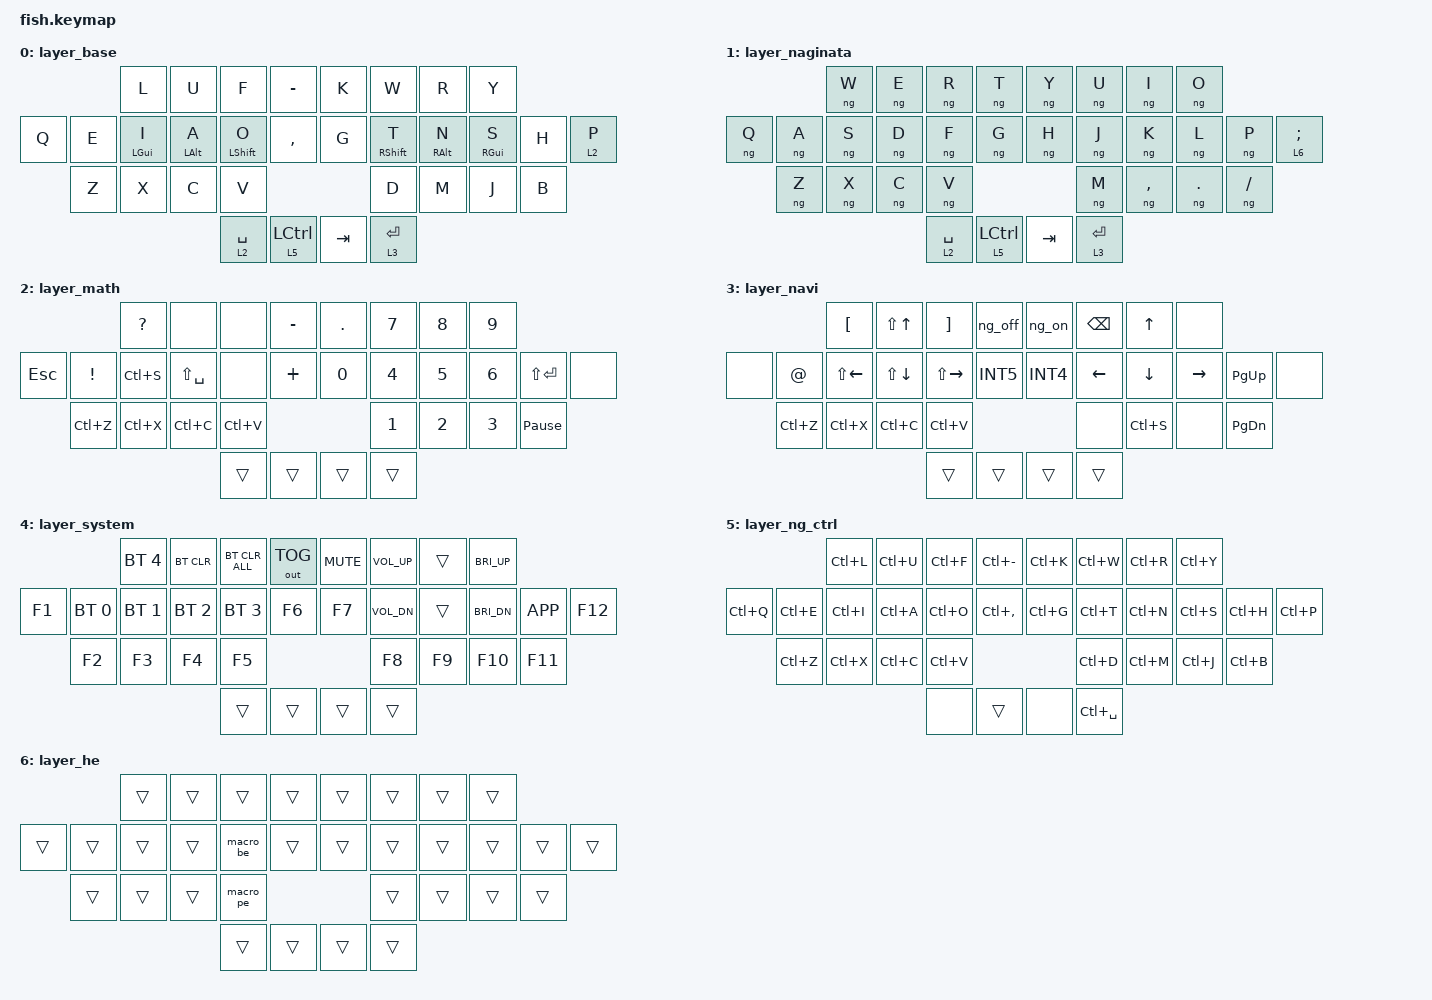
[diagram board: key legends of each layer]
// デフォルトキーマップ（QWERTY配列、Win優先、JIS方式）
// キーマップを更新する方法は https://o24.works/fish/guide を参照
// 視覚的に編集するには https://o24.works/fish/editor を参照


// 定義を呼んでくる
#include <behaviors.dtsi>
#include <behaviors/naginata.dtsi>
#include <dt-bindings/zmk/keys.h>
#include <dt-bindings/zmk/mouse.h>
#include <dt-bindings/zmk/bt.h>
#include <dt-bindings/zmk/outputs.h>
#include <dt-bindings/zmk/pointing.h>


// 特殊入力の挙動を調整できる

&mt {
    flavor = "tap-preferred";
    tapping-term-ms = <225>;
    quick-tap-ms = <200>;
    require-prior-idle-ms = <150>;
};

&lt {
    flavor = "balanced";
    tapping-term-ms = <175>;
    quick-tap-ms = <200>;
};

&sk {
};

&sl {
};

&caps_word {
};

&key_repeat {
};


/ {
    // 独自の入力を定義できる（上級者向け）

    behaviors {
        // なかぼね用：他のキーを押したら即レイヤー、単独の短押しはタップ扱い
        lt_hp: layer_tap_hp {
            compatible = "zmk,behavior-hold-tap";
            #binding-cells = <2>;
            flavor = "hold-preferred";
            tapping-term-ms = <200>;
            quick-tap-ms = <150>;
            bindings = <&mo>, <&kp>;
        };

        // なかぼね用：「へ」短押し＝へ、長押し＝へ専用レイヤー（6。数字層は条件付きで連動）
        ht_ng: hold_tap_ng {
            compatible = "zmk,behavior-hold-tap";
            #binding-cells = <2>;
            flavor = "hold-preferred";
            tapping-term-ms = <200>;
            quick-tap-ms = <150>;
            bindings = <&mo>, <&ng>;
        };

        // なかぼね用：左下親指 短押し＝Ctrl、長押し＝Ctrlレイヤー（5）
        lt_ngc: layer_tap_ngctrl {
            compatible = "zmk,behavior-hold-tap";
            #binding-cells = <2>;
            flavor = "hold-preferred";
            tapping-term-ms = <200>;
            quick-tap-ms = <150>;
            bindings = <&mo>, <&kp>;
        };
    };

    macros {
        // かな切替：Mozc側で F15＝ひらがな に定義済み
        ng_on: ng_on {
            compatible = "zmk,behavior-macro";
            #binding-cells = <0>;
            bindings
                = <&macro_tap &kp F15 &to 1>
                ;
        };

        // 英数切替：Mozc側で F14＝半角英数 に定義済み
        ng_off: ng_off {
            compatible = "zmk,behavior-macro";
            #binding-cells = <0>;
            bindings
                = <&macro_tap &kp F14 &to 0>
                ;
        };

        // べ・ぺ（ビルド#26）：「へ」長押し専用レイヤー（6）でのみ使う。
        // 薙刀式テーブル側の べ（F+SEMI）／ぺ（V+SEMI）は、へ長押し判定が先に立つため
        // SEMIとの同時押しとして届かない。専用レイヤー上でローマ字を直接送る。
        macro_be: macro_be {
            compatible = "zmk,behavior-macro";
            #binding-cells = <0>;
            bindings
                = <&macro_tap &kp B &kp E>
                ;
        };

        macro_pe: macro_pe {
            compatible = "zmk,behavior-macro";
            #binding-cells = <0>;
            bindings
                = <&macro_tap &kp P &kp E>
                ;
        };
    };

    conditional_layers {
        compatible = "zmk,conditional-layers";

        // 「へ」長押し専用レイヤー（6）が開いたら数字レイヤー（2）も開く。
        // Space長押しでは 6 は開かないので、べ／ぺ は出ない。
        he_then_math {
            if-layers = <6>;
            then-layer = <2>;
        };

        // 数字レイヤー（2）と移動レイヤー（3）が両方開いたらシステムレイヤー（4）も開く。
        // Space長押し（→2）とEnter長押し（→3）を両方押している間だけシステム層が開く。
        // ビルド#30：旧 combo_system_thumbs（<28 31>）は、親指キーの押下がコンボ判定で
        // 保留され、長押しのレイヤー切り替えが間に合わない問題があったため、この方式に移行した。
        math_navi_then_system {
            if-layers = <2 3>;
            then-layer = <4>;
        };
    };


    // 複数キーの同時押しに特別の入力を設定できる
    // キー番号早見表：
    //       0  1  2  3     4  5  6  7
    // 8  9 10 11 12 13    14 15 16 17 18 19
    //   20 21 22 23          24 25 26 27
    //            28 29    30 31

    combos {
        compatible = "zmk,combos";
        timeout-ms = <100>;
        require-prior-idle-ms = <150>;

        combo_reset_L {
            key-positions = <3 8 13>;
            bindings = <&bootloader>;
        };

        combo_reset_R {
            key-positions = <4 14 18>;
            bindings = <&bootloader>;
        };

        combo_studio_unlock {
            key-positions = <20 21 22 23>;
            bindings = <&studio_unlock>;
        };

        // なかぼね配列：あたまの楔ペア同時押しで かな／英数 を切り替える
        combo_kana_wedge {
            timeout-ms = <300>;
            key-positions = <4 14>;
            bindings = <&ng_on>;
            layers = <0>;
        };

        combo_eisu_wedge {
            timeout-ms = <300>;
            key-positions = <3 13>;
            bindings = <&ng_off>;
            layers = <1>;
        };

        // 既にかなモードのときに右あたまを押しても何も出ないようにする
        combo_kana_wedge_swallow {
            timeout-ms = <300>;
            key-positions = <4 14>;
            bindings = <&none>;
            layers = <1>;
        };

        // 既に英数モードのときに左あたまを押しても何も出ないようにする
        combo_eisu_wedge_swallow {
            timeout-ms = <300>;
            key-positions = <3 13>;
            bindings = <&none>;
            layers = <0>;
        };

        // システム層の開き方はビルド#30で conditional_layers（2＋3→4）に移行したため、
        // ここに親指キー（28／31）を使うコンボは置かない。
    };
    

    // キーに入力を割り当てる
    // 型（&...）は https://zmk.dev/docs/behaviors/... を参照
    // キーコードは https://zmk.dev/docs/codes/... を参照

    keymap {
        compatible = "zmk,keymap";

        // レイヤー構成（ビルド#23で整理、#26で6を追加）：
        // 0 英数／1 かな／2 数字（共用）／3 移動（共用）／4 システム／5 Ctrl
        // 6 へ長押し専用（べ・ぺ。開くと条件付きで2も開く）

        layer_base {
            bindings = <
                        &kp L       &kp U       &kp F       &kp MINUS           &kp K       &kp W       &kp R       &kp Y
&kp Q       &kp E       &mt LGUI I  &mt LALT A  &mt LSHFT O &kp COMMA           &kp G       &mt RSHFT T &mt RALT N  &mt RGUI S  &kp H       &lt_hp 2 P
            &kp Z       &kp X       &kp C       &kp V                                       &kp D       &kp M       &kp J       &kp B
                                                &lt_hp 2 SPACE &lt_ngc 5 LCTRL        &kp TAB &lt_hp 3 RET
            >;
        };

        layer_naginata {
            bindings = <
                        &ng W       &ng E       &ng R       &ng T               &ng Y       &ng U       &ng I       &ng O
&ng Q       &ng A       &ng S       &ng D       &ng F       &ng G               &ng H       &ng J       &ng K       &ng L       &ng P       &ht_ng 6 SEMI
            &ng Z       &ng X       &ng C       &ng V                                       &ng M       &ng COMMA   &ng DOT     &ng SLASH
                                                &lt_hp 2 SPACE &lt_ngc 5 LCTRL        &kp TAB &lt_hp 3 RET
            >;
        };

        // 数字レイヤー（英数・かな共用。Space長押しで開く。「へ」長押しは専用レイヤー6経由で条件付き連動）
        layer_math {
            bindings = <
                        &kp QMARK   &none       &none       &kp MINUS           &kp DOT     &kp N7      &kp N8      &kp N9
&kp ESC     &kp EXCL    &kp LC(S)   &kp LS(SPACE) &none     &kp PLUS            &kp N0      &kp N4      &kp N5      &kp N6      &kp LS(RET) &none
            &kp LC(Z)   &kp LC(X)   &kp LC(C)   &kp LC(V)                                   &kp N1      &kp N2      &kp N3      &kp PAUSE_BREAK
                                                &trans      &trans              &trans      &trans
            >;
        };

        // 移動レイヤー（英数・かな共用。Enter長押しで開く）
        layer_navi {
            bindings = <
                        &kp LBKT    &kp LS(UP)  &kp RBKT    &ng_off             &ng_on      &kp BSPC    &kp UP      &none
&none       &kp AT      &kp LS(LEFT) &kp LS(DOWN) &kp LS(RIGHT) &kp INT5        &kp INT4    &kp LEFT    &kp DOWN    &kp RIGHT   &kp PG_UP   &none
            &kp LC(Z)   &kp LC(X)   &kp LC(C)   &kp LC(V)                                   &none       &kp LC(S)   &none       &kp PG_DN
                                                &trans      &trans              &trans      &trans
            >;
        };

        // システム層（Space長押しとEnter長押しで数字・移動の両レイヤーが開いている間だけ、
        // conditional_layers の連動で開く。ビルド#30でコンボ方式から移行）
        layer_system {
            bindings = <
                        &bt BT_SEL 4 &bt BT_CLR &bt BT_CLR_ALL &out OUT_TOG     &kp C_MUTE  &kp C_VOL_UP &trans     &kp C_BRI_UP
&kp F1      &bt BT_SEL 0 &bt BT_SEL 1 &bt BT_SEL 2 &bt BT_SEL 3 &kp F6          &kp F7      &kp C_VOL_DN &trans     &kp C_BRI_DN &kp K_APP   &kp F12
            &kp F2      &kp F3      &kp F4      &kp F5                                      &kp F8      &kp F9      &kp F10     &kp F11
                                                &trans      &trans              &trans      &trans
            >;
        };

        // かな・英数の左下親指を押している間だけ使う、英数配列＋Ctrlのレイヤー
        layer_ng_ctrl {
            bindings = <
                        &kp LC(L)   &kp LC(U)   &kp LC(F)   &kp LC(MINUS)       &kp LC(K)   &kp LC(W)    &kp LC(R)   &kp LC(Y)
&kp LC(Q)   &kp LC(E)   &kp LC(I)   &kp LC(A)   &kp LC(O)   &kp LC(COMMA)       &kp LC(G)   &kp LC(T)    &kp LC(N)    &kp LC(S)   &kp LC(H)   &kp LC(P)
            &kp LC(Z)   &kp LC(X)   &kp LC(C)   &kp LC(V)                                   &kp LC(D)   &kp LC(M)   &kp LC(J)   &kp LC(B)
                                                &none       &trans              &none       &kp LC(SPACE)
            >;
        };

        // 「へ」長押し専用レイヤー（ビルド#26）：全て透過で、F＝べ／V＝ぺ のマクロだけ実体。
        // 開いている間は conditional_layers で数字レイヤー（2）も開くため、
        // 数字や記号は従来どおり数字レイヤーの割り当てで打てる。
        layer_he {
            bindings = <
                        &trans      &trans      &trans      &trans              &trans      &trans      &trans      &trans
&trans      &trans      &trans      &trans      &macro_be   &trans              &trans      &trans      &trans      &trans      &trans      &trans
            &trans      &trans      &trans      &macro_pe                                   &trans      &trans      &trans      &trans
                                                &trans      &trans              &trans      &trans
            >;
        };
    };
};
